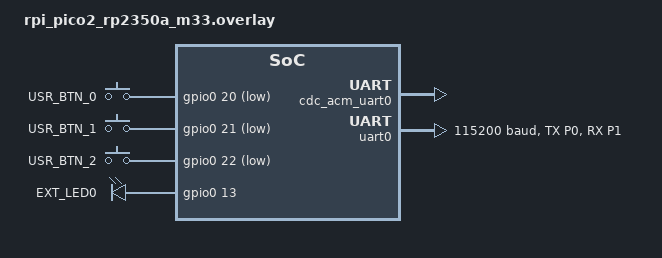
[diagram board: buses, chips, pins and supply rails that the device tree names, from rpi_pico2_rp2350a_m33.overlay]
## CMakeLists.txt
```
cmake_minimum_required(VERSION 3.20.0)
set(BOARD rpi_pico2/rp2350a/m33)
find_package(Zephyr REQUIRED HINTS $ENV{ZEPHYR_BASE})
project(lab2_part1)
set(CMAKE_EXPORT_COMPILE_COMMANDS ON)
set(OPENOCD "openocd")
set(OPENOCD_DEFAULT_PATH "/usr/local/share/openocd/scripts")
target_include_directories(app PRIVATE src/inc .)
FILE(GLOB SRC_FILES "src/*.c")
target_sources(app PRIVATE 
    ../../coms/coms.c 
    ${SRC_FILES}
    drivers/sensor_node/sensor_node.c
)
target_include_directories(app PRIVATE drivers/sensor_node)
```

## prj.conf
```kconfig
CONFIG_GPIO=y
CONFIG_POLL=y
CONFIG_SERIAL=y
CONFIG_CONSOLE=y
CONFIG_UART_CONSOLE=y
CONFIG_STDOUT_CONSOLE=y
CONFIG_UART_LINE_CTRL=y


CONFIG_USB_DEVICE_STACK_NEXT=y
CONFIG_CDC_ACM_SERIAL_INITIALIZE_AT_BOOT=y
CONFIG_CDC_ACM_SERIAL_PID=0x0004
CONFIG_CDC_ACM_SERIAL_PRODUCT_STRING="USBD console sample"

CONFIG_UART_INTERRUPT_DRIVEN=y

CONFIG_SENSOR=y
CONFIG_SENSOR_NODE=y
```

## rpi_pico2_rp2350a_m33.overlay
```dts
/ {
    chosen {
            zephyr,console = &cdc_acm_uart0;
            zephyr,shell-uart = &cdc_acm_uart0;
    };
};

&zephyr_udc0 {
    cdc_acm_uart0: cdc_acm_uart0 {
            compatible = "zephyr,cdc-acm-uart";
    };
};

&uart0 {
    status = "okay";
    current-speed = <115200>;
    pinctrl-0 = <&uart0_default>;
    pinctrl-names = "default";
};

&pinctrl {
    uart0_default: uart0_default {
        group1 {
            pinmux = <UART0_TX_P0>;
        };
        group2 {
            pinmux = <UART0_RX_P1>;
            input-enable;
        };
    };
};

/ {
    keys {
        compatible = "gpio-keys";
        button0: button_0 {
            gpios = <&gpio0 20 (GPIO_PULL_UP | GPIO_ACTIVE_LOW)>;
            label = "USR_BTN_0";
        };
        button1: button_1 {
            gpios = <&gpio0 21 (GPIO_PULL_UP | GPIO_ACTIVE_LOW)>;
            label = "USR_BTN_1";
        };
        button2: button_2 {
            gpios = <&gpio0 22 (GPIO_PULL_UP | GPIO_ACTIVE_LOW)>;
            label = "USR_BTN_2";
        };
    };

    leds {
        compatible = "gpio-leds";
        led0: led_0 {
            gpios = <&gpio0 13 GPIO_ACTIVE_HIGH>;
            label = "EXT_LED0";
        };
    };

    aliases {
        button0 = &button0;
        button1 = &button1;
        button2 = &button2;
        led0 = &led0;
    };
};
```

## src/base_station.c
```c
#include "base_station.h"
#include "coms.h"
#include "debug_print.h"
#include <zephyr/kernel.h>
#include <zephyr/device.h>
#include <zephyr/drivers/sensor.h>
#include "drivers/sensor_node/sensor_node.h"
#include <stdint.h>

// Queues
// Create an event queue.
K_MSGQ_DEFINE(event_queue, sizeof(base_station_event_t), QUEUE_SIZE, __alignof__(base_station_event_t));

// Raw byte queue: ISR to uart_rx_task
K_MSGQ_DEFINE(uart_byte_queue, sizeof(uint8_t), 256, 1);

// Packet queue: uart_rx_task to packet_handler_task
K_MSGQ_DEFINE(packet_queue, sizeof(packet_t *), QUEUE_SIZE, __alignof__(packet_t *));
base_station_t bs;

// Create macro aliases for each node.
#define BTN0_NODE DT_ALIAS(button0)
#define BTN1_NODE DT_ALIAS(button1)
#define BTN2_NODE DT_ALIAS(button2)

#define EMERGENCY_LED_NODE DT_ALIAS(led0)

#define UART_NODE DT_NODELABEL(uart0)

// Create specs for each node.
static const struct gpio_dt_spec btn0_spec = GPIO_DT_SPEC_GET(BTN0_NODE, gpios);
static const struct gpio_dt_spec btn1_spec = GPIO_DT_SPEC_GET(BTN1_NODE, gpios);
static const struct gpio_dt_spec btn2_spec = GPIO_DT_SPEC_GET(BTN2_NODE, gpios);
static const struct gpio_dt_spec emergency_led_spec = GPIO_DT_SPEC_GET(EMERGENCY_LED_NODE, gpios);

static const struct device *uart_dev = DEVICE_DT_GET(UART_NODE);

static struct k_work_delayable emergency_ack_work;

// Create callback struct for button ISRs.
static struct gpio_callback reset_btn_cb_data;
static struct gpio_callback ack_btn_cb_data;
static struct gpio_callback sens_btn_cb_data;

static struct k_poll_signal poll_signal;
static struct k_timer request_timer;
static struct k_timer emergency_led_timer;

static struct k_poll_event events[1];

void init_btn(const struct gpio_dt_spec *spec, gpio_callback_handler_t callback, struct gpio_callback *callback_data)
{
    // Configures button pin as input.
    gpio_pin_configure_dt(spec, GPIO_INPUT);

    // Registers interrupt on edge to active level.
    gpio_pin_interrupt_configure_dt(spec, GPIO_INT_EDGE_TO_ACTIVE);

    // Initializes callback struct with ISR and the pins on which ISR should trigger.
    gpio_init_callback(callback_data, callback, BIT(spec->pin));

    // Adds ISR callback to the device.
    gpio_add_callback_dt(spec, callback_data);
}

void init_led(const struct gpio_dt_spec *spec)
{
    if (!gpio_is_ready_dt(spec))
    {
        return;
    }

    // Configures LED pin as output.
    int ret = gpio_pin_configure_dt(spec, GPIO_OUTPUT_INACTIVE);
    if (ret < 0)
    {
        return;
    }
}

// Enqueue newly received bytes in uart_byte_queue.
static void uart_isr(const struct device *dev, void *user_data)
{
    if (!uart_irq_update(dev))    { return; }
    if (!uart_irq_rx_ready(dev))  { return; }

    uint8_t byte;
    while (uart_fifo_read(dev, &byte, 1) == 1) {
        // Non-blocking put; drop byte on overflow (better than blocking in ISR)
        k_msgq_put(&uart_byte_queue, &byte, K_NO_WAIT);
    }
}

void emergency_ack_handler(struct k_work *work)
{
    APP_PRINT(BS_TAG, DEBUG_TAG, "Sending EMERGENCY_ACK response!");
    send_response(EMERGENCY_ACK, NULL, 0);
}

//Setup BTN ISRs
void reset_btn_isr(const struct device *dev, struct gpio_callback *cb, uint32_t pins)
{
    // Add reset pressed event to the event queue.
    base_station_event_t evt = RESET_PRESSED;
    k_msgq_put(&event_queue, &evt, K_NO_WAIT);
}

void ack_btn_isr(const struct device *dev, struct gpio_callback *cb, uint32_t pins)
{
    // Only allow sending the ACK if we are actually in an emergency
    if (bs.emergency) 
    {
        // Schedule the work immediately (K_NO_WAIT) to safely send the UART packet outside the ISR
        k_work_schedule(&emergency_ack_work, K_NO_WAIT);
    }
}

void sens_btn_isr(const struct device *dev, struct gpio_callback *cb, uint32_t pins)
{
    // Cycle through sensitivity levels on each press.
    base_station_event_t evt = SENS_PRESSED;
    k_msgq_put(&event_queue, &evt, K_NO_WAIT);
}

void init_defaults(base_station_t *bs)
{
    bs->curr_state = BOOT;
    bs->hw_init = true;
    bs->emergency = false;
    bs->emergency_light = false;

    // Zero out the readings.
    bs->sensor_readings.dist = 0;
    bs->sensor_readings.force = 0;
    bs->sensor_readings.accel_x = 0;
    bs->sensor_readings.accel_y = 0;
    bs->sensor_readings.accel_z = 0;

    // Begin with medium sensitivity by default.
    bs->sensitivity = MEDIUM;
}

// Sets up the initial state and performs necessary setup for the base station.
void init(base_station_t *bs)
{
    // Initialize the base station state
    APP_PRINT(BS_TAG, DEBUG_TAG, "Bootstrapping base station...");

    if (!bs->hw_init)
    {
        // Initialize UART device.
        if (!device_is_ready(uart_dev))
        {
            APP_PRINT(BS_TAG, ERROR_TAG, "UART device is not ready!");
            // Add error event to the event queue.
            base_station_event_t evt = ERROR_OCCURRED;
            k_msgq_put(&event_queue, &evt, K_NO_WAIT);
            return;
        }

        // Initilaze the sensor node device.
        bs->sn_dev = device_get_binding(SN_ALIAS);
        if (!device_is_ready(bs->sn_dev))
        {
            APP_PRINT(BS_TAG, ERROR_TAG, "Sensor node device not ready");
            return;
        }

        // Initialize buttons and their ISRs.
        init_btn(&btn0_spec, reset_btn_isr, &reset_btn_cb_data);
        init_btn(&btn1_spec, ack_btn_isr, &ack_btn_cb_data);
        init_btn(&btn2_spec, sens_btn_isr, &sens_btn_cb_data);

        // Initialize ISR
        uart_irq_callback_set(uart_dev, uart_isr);
        uart_irq_rx_enable(uart_dev);

        // Initialize LEDs.
        init_led(&emergency_led_spec);
    }

    // Default all other state values.
    init_defaults(bs);

    // Issue config packet to sensor node to set sensitivity.
    send_config(bs);

    // Initialize the polling signal and event.
    k_poll_signal_init(&poll_signal);
    k_poll_event_init(&events[0], K_POLL_TYPE_SIGNAL, K_POLL_MODE_NOTIFY_ONLY, &poll_signal);

    // Initialize the timer for periodic data requests, delayable work item for the emergency ack.
    k_timer_init(&request_timer, timer_handler, NULL);
    k_timer_init(&emergency_led_timer, led_timer_handler, NULL);
    k_work_init_delayable(&emergency_ack_work, emergency_ack_handler);

    // Add boot complete event to the event queue.
    base_station_event_t evt = BOOT_COMPLETE;
    k_msgq_put(&event_queue, &evt, K_NO_WAIT);
}

void timer_handler(struct k_timer *t)
{
    k_poll_signal_raise(&poll_signal, TIMER_SIGNAL);
}

void led_timer_handler(struct k_timer *timer)
{
    bs.emergency_light = !bs.emergency_light;
    gpio_pin_set_dt(&emergency_led_spec, bs.emergency_light);
}

static inline void toggle_timer(bool state_change, bool start)
{
    if (!state_change)
    {
        return;
    }
    if (start)
    {
        k_timer_start(&request_timer, K_SECONDS(WORK_INTERVAL_S), K_SECONDS(WORK_INTERVAL_S));
    }
    else
    {
        k_timer_stop(&request_timer);
    }
}

void error_handler(base_station_t *bs, bool state_change)
{
    // Stop the periodic timer during error.
    toggle_timer(state_change, false);

    // Turn on the emergency light solid during error.
    start_light();
}

void boot_handler(base_station_t *bs, bool state_change)
{
    toggle_timer(state_change, false);
    stop_light();

    // Re-boot the system.
    init(bs);
}

void alert_handler(base_station_t *bs, bool state_change)
{
    // Stop the periodic timer during alert.
    toggle_timer(state_change, false);

    // Flash the emergency light.
    start_flashing_light();
}

void send_config(base_station_t *bs)
{
    uint8_t config_data[1] = { bs->sensitivity };
    packet_t *packet = build_packet(CONFIG, config_data, sizeof(config_data));
    if (packet)
    {
        APP_PRINT(BS_TAG, DEBUG_TAG, "Sending config packet with sensitivity: %s", sensitivity_to_str(bs->sensitivity));

        send_packet(uart_dev, packet);
        destroy_packet(packet);
    }
    else
    {
        APP_PRINT(BS_TAG, ERROR_TAG, "Failed to build config packet!");
    }
}

void request_data()
{
    packet_t *packet = build_packet(REQUEST, NULL, 0);
    if (packet)
    {
        print_packet(BS_TAG, packet_type_to_str(REQUEST), packet);
        send_packet(uart_dev, packet);
        destroy_packet(packet);
    }
    else
    {
        APP_PRINT(BS_TAG, ERROR_TAG, "Packet build failed!");
    }
}

void normal_handler(base_station_t *bs, bool state_change)
{
    toggle_timer(state_change, true);
    stop_light();

    if (sensor_sample_fetch(bs->sn_dev) != 0 && bs->curr_state != NORMAL)
    {
        APP_PRINT(BS_TAG, ERROR_TAG, "BS fetch failed: not in normal state");
        return;
    }

    struct sensor_value dist, force, accel_x, accel_y, accel_z;
    sensor_channel_get(bs->sn_dev, SENSOR_CHAN_DISTANCE, &dist);
    sensor_channel_get(bs->sn_dev, SENSOR_CHAN_FORCE_N, &force);
    sensor_channel_get(bs->sn_dev, SENSOR_CHAN_ACCEL_X, &accel_x);
    sensor_channel_get(bs->sn_dev, SENSOR_CHAN_ACCEL_Y, &accel_y);
    sensor_channel_get(bs->sn_dev, SENSOR_CHAN_ACCEL_Z, &accel_z);

    update_sensor_values(&bs->sensor_readings, &dist, &force, &accel_x, &accel_y, &accel_z);

    sensor_reading_t *r;
    r = &bs->sensor_readings;
    APP_PRINT(BS_TAG, DEBUG_TAG, "Reading: { dist=%d, force=%d, accel=(%d, %d, %d) }",
        r->dist, r->force, r->accel_x, r->accel_y, r->accel_z);
}

void update_sensor_values(sensor_reading_t *readings, struct sensor_value *dist, struct sensor_value *force, struct sensor_value *accel_x, struct sensor_value *accel_y, struct sensor_value *accel_z)
{
    readings->dist = (int32_t)dist->val1;
    readings->force = (int32_t)force->val1;
    readings->accel_x = (int32_t)accel_x->val1;
    readings->accel_y = (int32_t)accel_y->val1;
    readings->accel_z = (int32_t)accel_z->val1;
}

void start_flashing_light(void)
{
    k_timer_start(&emergency_led_timer, K_NO_WAIT, K_MSEC(FLASH_MS));
}

void start_light(void)
{
    gpio_pin_set_dt(&emergency_led_spec, 1);
    bs.emergency_light = true;
}

void stop_light(void)
{
    k_timer_stop(&emergency_led_timer);
    gpio_pin_set_dt(&emergency_led_spec, 0);
    bs.emergency_light = false;
}

void worker_task()
{
    bs.hw_init = false;
    init(&bs);

    int signaled, result;
    bool state_change = false;

    while (true)
    {
        // Wait for a signal to perform work.
        k_poll(events, 1, K_FOREVER);

        if (events[0].state == K_POLL_STATE_SIGNALED)
        {

            // Check result & reset for the next signal.
            k_poll_signal_check(&poll_signal, &signaled, &result);
            k_poll_signal_reset(&poll_signal);

            state_change = (result == STATE_SIGNAL);

            switch (bs.curr_state)
            {
                case ALERT:
                    alert_handler(&bs, state_change);
                    break;

                case BOOT:
                    boot_handler(&bs, state_change);
                    break;

                case ERROR:
                    error_handler(&bs, state_change);
                    break;

                // Default to normal case.
                default:
                    normal_handler(&bs, state_change);
                    break;
            }
        }
    }
}

base_station_event_t get_next_state(base_station_state_t curr_state, base_station_event_t ev)
{
    switch (curr_state)
    {
    case NORMAL:
        if (ev == ANOMALY_DETECTED)
        {
            return ALERT;
        }
        else if (ev == RESET_PRESSED)
        {
            return BOOT;
        }
        else if (ev == ERROR_OCCURRED)
        {
            return ERROR;
        }
        break;

    case BOOT:
        if (ev == BOOT_COMPLETE)
        {
            return NORMAL;
        }
        break;

    case ALERT:
        if (ev == RESET_PRESSED)
        {
            return BOOT;
        }
        else if (ev == ANOMALY_CLEARED)
        {
            return NORMAL;
        }
        else if (ev == ERROR_OCCURRED)
        {
            return ERROR;
        }
        break;

    case ERROR:
        if (ev == RESET_PRESSED)
        {
            return BOOT;
        }
        break;
    }
    // If no transition occurs, return the current state.
    return curr_state;
}

const char *sensitivity_to_str(uint8_t sensitivity)
{
    switch (sensitivity)
    {
        case LOW: return "LOW";
        case MEDIUM: return "MEDIUM";
        case HIGH: return "HIGH";
        default: return "UNKNOWN";
    }
}


void process_packet(packet_t *packet)
{
    if (bs.emergency && packet->type != READY)
    {
        APP_PRINT(BS_TAG, DEBUG_TAG, "Already in emergency mode...please wait!");
        return;
    }

    switch (packet->type)
    {
        case RESPONSE:
        {
            if (packet->data != NULL && packet->data_len == sizeof(int32_t) * 5)
            {
                int32_t *readings = (int32_t *)packet->data;
                sensor_node_store_response(
                    readings[4], /* dist mm    */
                    readings[3], /* force mN   */
                    readings[0], /* accel X mg */
                    readings[1], /* accel Y mg */
                    readings[2]  /* accel Z mg */
                );
            }
            else
            {
                APP_PRINT(BS_TAG, ERROR_TAG, "Response payload missing or wrong size");
            }

            break;
        }
case EMERGENCY:
        {
            print_packet(BS_TAG, packet_type_to_str(EMERGENCY), packet);

            if (!bs.emergency) {
                bs.emergency = true;
                base_station_event_t evt = ANOMALY_DETECTED;
                k_msgq_put(&event_queue, &evt, K_NO_WAIT);
            }
            APP_PRINT(BS_TAG, DEBUG_TAG, "ALERT MODE! Press BTN 'GP21' to clear emergency and send EMERGENCY_ACK.");
            
            break;
        }

        case READY:
        {
            bs.emergency = false;
            base_station_event_t evt = ANOMALY_CLEARED;
            k_msgq_put(&event_queue, &evt, K_NO_WAIT);
            break;
        }

        default:
            print_packet(BS_TAG, "DEFAULT", packet);
            break;
        }
}

//uart_rx_task: frames bytes - complete packetS
void uart_rx_task(void)
{
    static uint8_t packet_type  = 0;
    static uint8_t payload_len  = 0;
    static uint8_t payload_idx  = 0;
    static uint8_t payload[64];
    static int     state        = 0;

    uint8_t byte;

    while (true) {
        // Block until a byte arrives from the ISR
        k_msgq_get(&uart_byte_queue, &byte, K_FOREVER);

        switch (state) {
        case 0: // WAIT_SYNC
            if (byte == SYNC_BYTE) {
                payload_idx = 0;
                state = 1;
            }
            break;

        case 1: // WAIT_TYPE
            packet_type = byte;
            state = 2;
            break;

        case 2: // WAIT_LENGTH
            payload_len = byte;

            if (payload_len == 0)
            {
                // Zero-payload packet — hand it off immediately
                packet_t *pkt = build_packet(packet_type, NULL, 0);
                if (pkt)
                {
                    if (k_msgq_put(&packet_queue, &pkt, K_NO_WAIT) != 0)
                    {
                        APP_PRINT(BS_TAG, ERROR_TAG, "Packet queue full; dropping packet!");
                        destroy_packet(pkt);
                    }
                }
                state = 0;
            }
            else if (payload_len > sizeof(payload))
            {
                APP_PRINT(BS_TAG, ERROR_TAG, "Payload too large (%u); dropping packet!", payload_len);
                state = 0;
            }
            else
            {
                payload_idx = 0;
                state = 3;
            }
            break;

        case 3: // WAIT_PAYLOAD
            payload[payload_idx++] = byte;
            if (payload_idx >= payload_len)
            {
                packet_t *pkt = build_packet(packet_type, payload, payload_len);
                if (pkt)
                {
                    if (k_msgq_put(&packet_queue, &pkt, K_NO_WAIT) != 0)
                    {
                        APP_PRINT(BS_TAG, ERROR_TAG, "Packet queue full; dropping packet!");
                        destroy_packet(pkt);
                    }
                }
                state = 0;
            }
            break;

        default:
            state = 0;
            break;
        }
    }
}

/**
 * @brief Dequeues complete packets and processes them.
 */
void packet_handler_task(void)
{
    packet_t *pkt;

    while (true)
    {
        if (k_msgq_get(&packet_queue, &pkt, K_FOREVER) == 0) 
        {
            process_packet(pkt);
            destroy_packet(pkt);
        }
    }
}

void cycle_sensitivity(base_station_t *bs)
{
    bs->sensitivity = (bs->sensitivity + 1) % SENSITIVITY_LEVELS;
}

// Periodically checks the event queue and updates the base station state accordingly.
void fsm_task()
{
    base_station_event_t ev;

    while (true)
    {
        // Check for events in the event queue and handle them.
        if (k_msgq_get(&event_queue, &ev, K_FOREVER) == 0)
        {

            log_event(&bs, ev);

            if (ev == SENS_PRESSED)
            {
                // Cycle through sensitivity levels and send config packet, without changing the current state.
                bs.sensitivity = (bs.sensitivity + 1) % SENSITIVITY_LEVELS;
                cycle_sensitivity(&bs);
                send_config(&bs);
                continue;
            }

            // Advance state based on the event.
            bs.curr_state = get_next_state(bs.curr_state, ev);
            k_poll_signal_raise(&poll_signal, STATE_SIGNAL);
            log_state(&bs);
        }
    }
}

const char *event_to_str(base_station_event_t ev)
{
    switch (ev)
    {
    case RESET_PRESSED:
        return "Reset Pressed";
    case SENS_PRESSED:
        return "Sensitivity Pressed";
    case BOOT_COMPLETE:
        return "Boot Complete";
    case ANOMALY_DETECTED:
        return "Anomaly Detected";
    case ANOMALY_CLEARED:
        return "Anomaly Cleared";
    case ERROR_OCCURRED:
        return "Error Occurred";
    default:
        return "Unknown Event";
    }
}

void log_event(base_station_t *bs, base_station_event_t ev)
{
    APP_PRINT(BS_TAG, DEBUG_TAG, "Event: %s", event_to_str(ev));
}

const char *state_to_str(base_station_state_t state)
{
    switch (state)
    {
    case NORMAL:
        return "NORMAL";
    case ALERT:
        return "ALERT";
    case BOOT:
        return "BOOT";
    case ERROR:
        return "ERROR";
    default:
        return "UNKNOWN";
    }
}

void log_state(base_station_t *bs)
{
    APP_PRINT(BS_TAG, DEBUG_TAG, "State: %s", state_to_str(bs->curr_state));
}


#ifndef CONFIG_ZTEST
K_THREAD_DEFINE(fsm_tid, STACK_SIZE, fsm_task, NULL, NULL, NULL, UPDATE_PRIO, 0, 0);
K_THREAD_DEFINE(worker_tid, STACK_SIZE, worker_task, NULL, NULL, NULL, WORKER_PRIO, 0, 0);
K_THREAD_DEFINE(rx_tid, STACK_SIZE, uart_rx_task, NULL, NULL, NULL, READ_PRIO, 0, 0);
K_THREAD_DEFINE(handler_tid, STACK_SIZE, packet_handler_task, NULL, NULL, NULL, HANDLER_PRIO, 0, 0);
#endif
```
